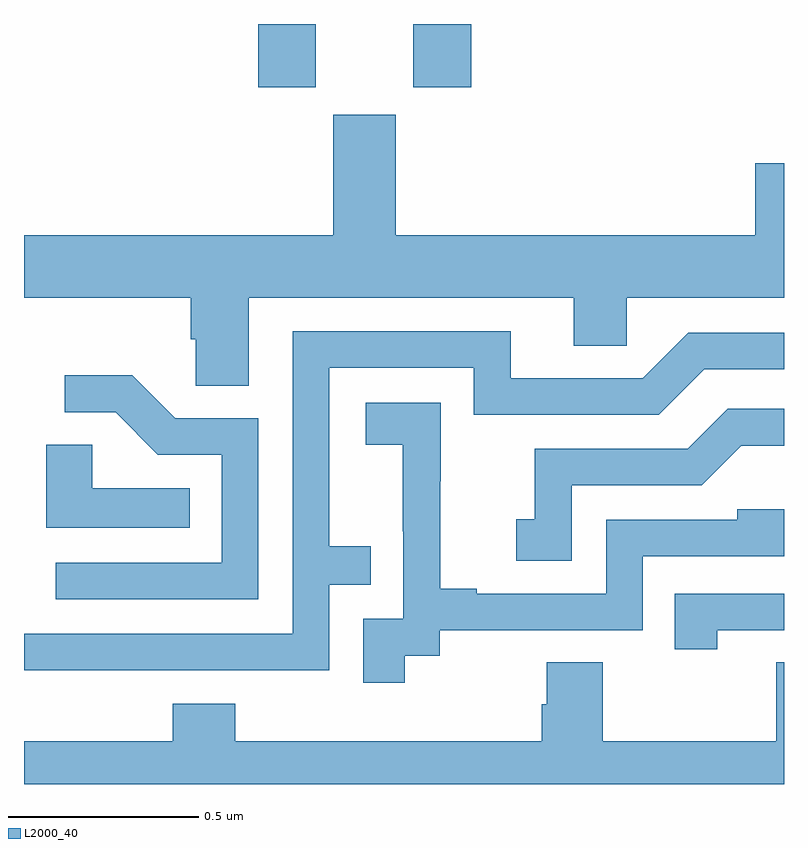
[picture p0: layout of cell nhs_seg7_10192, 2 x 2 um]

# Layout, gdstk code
import gdstk
lib = gdstk.Library(unit=1e-6, precision=1e-09)
def R(c, l, rs):  # rectangles x0, y0, x1, y1
    for r in rs: c.add(gdstk.rectangle(r[:2], r[2:], *l))
def P(c, l, *ps):  # polygons
    for p in ps: c.add(gdstk.Polygon(p, *l))
L2000_40 = (2000, 40)

nhs_seg7_10192 = lib.new_cell('nhs_seg7_10192')
R(nhs_seg7_10192, L2000_40, [(247.616,1003.833,247.768,1004), (248.024,1003.833,248.177,1004)])
P(nhs_seg7_10192, L2000_40, [(247.591,1003.28),(248.447,1003.28),(248.447,1003.153),(248.586,1003.153),(248.586,1003.28),(249,1003.28),(249,1003.633),(248.924,1003.633),(248.924,1003.444),(247.978,1003.444),(247.978,1003.761),(247.814,1003.761),(247.814,1003.444),(247,1003.444),(247,1003.28),(247.439,1003.28),(247.439,1003.171),(247.452,1003.171),(247.452,1003.048),(247.591,1003.048)],
  [(247.307,1002.3),(247.803,1002.3),(247.803,1002.525),(247.913,1002.525),(247.913,1002.626),(247.803,1002.626),(247.803,1003.095),(248.184,1003.095),(248.184,1002.972),(248.67,1002.972),(248.79,1003.092),(249,1003.092),(249,1003.188),(248.748,1003.188),(248.628,1003.068),(248.281,1003.068),(248.281,1003.191),(247.707,1003.191),(247.707,1002.396),(247,1002.396),(247,1002.299),(247.307,1002.299)],
  [(247.617,1002.963),(247.398,1002.963),(247.285,1003.076),(247.107,1003.076),(247.107,1002.978),(247.241,1002.978),(247.352,1002.867),(247.521,1002.867),(247.521,1002.582),(247.083,1002.582),(247.083,1002.486),(247.617,1002.486)],
  [(248.002,1002.337),(248.094,1002.337),(248.094,1002.405),(248.628,1002.405),(248.628,1002.6),(249,1002.6),(249,1002.723),(248.877,1002.723),(248.877,1002.696),(248.532,1002.696),(248.532,1002.501),(248.191,1002.501),(248.191,1002.514),(248.096,1002.514),(248.096,1002.797),(248.097,1002.797),(248.097,1003.003),(247.899,1003.003),(247.899,1002.893),(247.997,1002.893),(247.997,1002.665),(247.998,1002.665),(247.998,1002.435),(247.893,1002.435),(247.893,1002.267),(248.002,1002.267)],
  [(248.442,1002.786),(248.784,1002.786),(248.888,1002.89),(249,1002.89),(249,1002.987),(248.852,1002.987),(248.747,1002.882),(248.344,1002.882),(248.344,1002.697),(248.295,1002.697),(248.295,1002.588),(248.442,1002.588)],
  [(247.436,1002.778),(247.179,1002.778),(247.179,1002.893),(247.058,1002.893),(247.058,1002.674),(247.436,1002.674)],
  [(248.824,1002.405),(249,1002.405),(249,1002.501),(248.713,1002.501),(248.713,1002.354),(248.824,1002.354)],
  [(249,1002.32),(248.98,1002.32),(248.98,1002.112),(248.523,1002.112),(248.523,1002.32),(248.375,1002.32),(248.375,1002.21),(248.363,1002.21),(248.363,1002.112),(247.556,1002.112),(247.556,1002.211),(247.391,1002.211),(247.391,1002.112),(247,1002.112),(247,1002),(249,1002)])

lib.write_gds('nhs_seg7_10192.gds')
